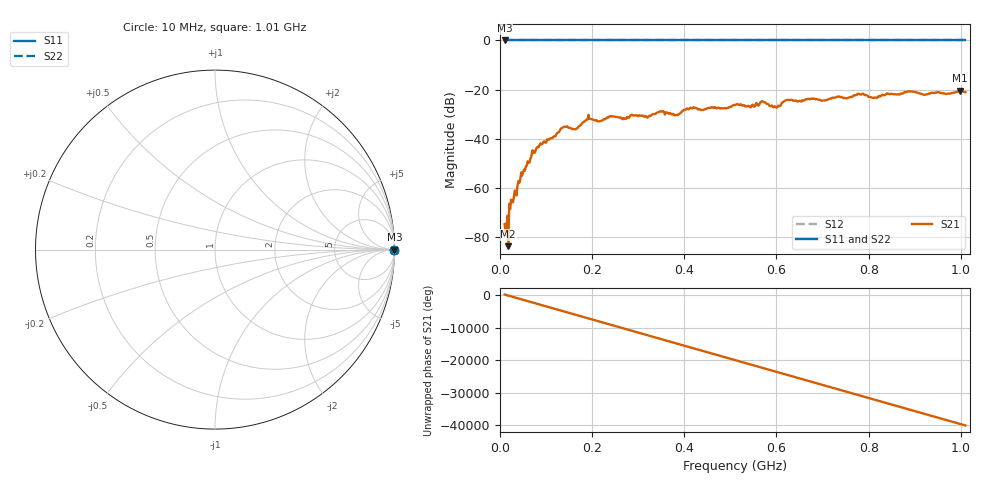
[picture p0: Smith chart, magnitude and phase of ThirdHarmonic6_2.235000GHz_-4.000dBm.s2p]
! 8/17/2025 2:34:18 AM
! C:\ANRITSUVNA\TEMP\TEMP.S2P
! CHANNEL.1
! TR.MEASUREMENT
! RAW.DATA
! RF.CORRECTION.OFF
! AVERAGING.OFF
! IF.BANDWIDTH: 5KHZ
! SWEEPTYPE:  FREQ.SWEEP(Linear)
! Reference Plane Port Info
! PORT:  PORT1  PORT2
! DISTANCE:  0  m  0  m
! TIME:  0  s  0  s
! PHASE.OFFSET:  0  deg.  0  deg.
! LOSS:  0  dB  0  dB
! REF.LOSS:  0  dB  0  dB
! REF.FREQ:  0  Hz  0  Hz
! Power Info
! POWER:  -20  dBm  -20  dBm
! EFF.POWER:  -20  dBm  -20  dBm
! SOURCE.ATTEN:  0  dB  0  dB
! TEST.ATTEN:  0  dB  0  dB
# GHZ S RI R 50.0
! FREQ.GHZ  S11RE  S11IM  S21RE  S21IM  S12RE  S12IM  S22RE  S22IM
!; PortSelection: Port_12
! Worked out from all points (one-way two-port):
!   501 points, 10 MHz to 1.01 GHz, reference 50 ohm
!   highest |S21| = -20.45 dB at 998 MHz (marker M1); lowest = -83.8 dB at 18 MHz (marker M2)
!   lowest |S11| = 0.0 dB at 10 MHz (marker M3)
!   |S11| at or under -10 dB: nowhere
!   |S22| runs from 0.0 to 0.0 dB; largest |S21 - S12| = 1.1
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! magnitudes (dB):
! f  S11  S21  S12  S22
! 10 MHz  0.0  -74.8  0.0  0.0
! 14 MHz  0.0  -77.7  0.0  0.0
! 18 MHz  0.0  -83.8  0.0  0.0
! 24 MHz  0.0  -64.9  0.0  0.0
! 42 MHz  0.0  -58.0  0.0  0.0
! 74 MHz  0.0  -45.1  0.0  0.0
! 136 MHz  0.0  -35.5  0.0  0.0
! 164 MHz  0.0  -36.2  0.0  0.0
! 178 MHz  0.0  -33.8  0.0  0.0
! 192 MHz  0.0  -30.3  0.0  0.0
! 216 MHz  0.0  -32.9  0.0  0.0
! 344 MHz  0.0  -29.3  0.0  0.0
! 382 MHz  0.0  -30.3  0.0  0.0
! 416 MHz  0.0  -27.7  0.0  0.0
! 510 MHz  0.0  -26.3  0.0  0.0
! 570 MHz  0.0  -24.8  0.0  0.0
! 598 MHz  0.0  -27.0  0.0  0.0
! 622 MHz  0.0  -24.2  0.0  0.0
! 678 MHz  0.0  -23.8  0.0  0.0
! 844 MHz  0.0  -21.8  0.0  0.0
! 998 MHz  0.0  -20.5  0.0  0.0
! 1.01 GHz  0.0  -21.1  0.0  0.0
